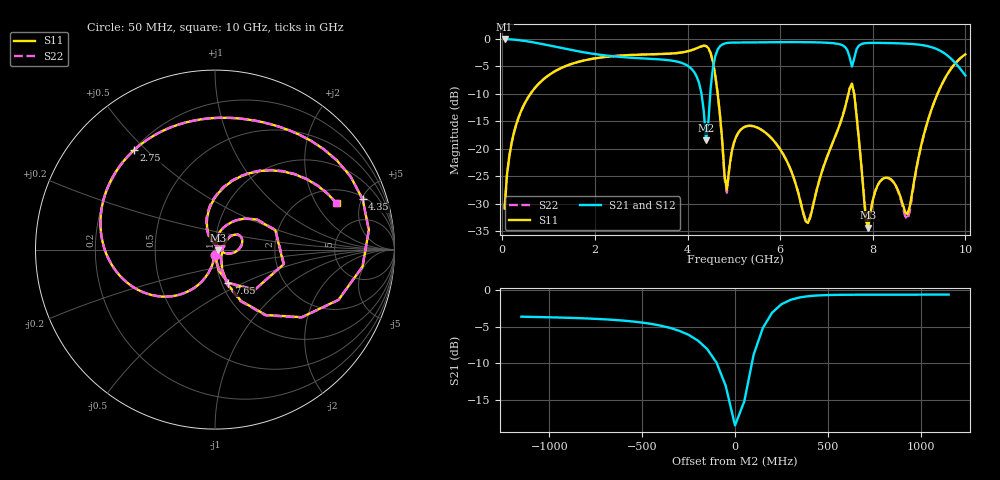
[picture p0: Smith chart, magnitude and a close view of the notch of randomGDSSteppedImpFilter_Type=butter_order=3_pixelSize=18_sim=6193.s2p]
! freq	dB(S11)	phase(S11)	dB(S12)	phase(S12)
!  dB(S21)	phase(S21)	dB(S22)	phase(S22)
!S-par simulation data
#  GHz  S  DB  R 50
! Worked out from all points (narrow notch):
!   200 points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, 50 MHz to 10 GHz, reference 50 ohm
!   highest |S21| = -0.01 dB at 50 MHz (marker M1); lowest = -18.5 dB at 4.4 GHz (marker M2)
!   notch at M2: 17.3 dB deep, 194 MHz wide at half that depth
!   lowest |S11| = -34.4 dB at 7.9 GHz (marker M3), VSWR 1.04, Z = 51.9 - j0.33 ohm
!   |S11| at or under -10 dB: start of sweep to 607.6 MHz; 4.652 GHz to 7.474 GHz (2.822 GHz wide, 46.5 % of centre); 7.599 GHz to 9.397 GHz (1.799 GHz wide, 21.2 % of centre)
!   |S22| runs from -33.7 to -1.2 dB; largest |S21 - S12| = 0
!   S11 on the Smith chart (normalised r, x): 50 MHz: 1.00, -0.06; 2.75 GHz: 0.20, +0.46; 4.35 GHz: 2.22, +5.09; 7.65 GHz: 1.08, -0.42; 10 GHz: 2.79, +3.03
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0.05  -30.91 -93.3  -0.01 -3.2  -0.01 -3.2  -30.91 -93.3
0.2  -19.00 -103.1  -0.07 -12.6  -0.07 -12.6  -19.00 -103.1
0.5  -11.48 -121.4  -0.36 -30.9  -0.36 -30.9  -11.48 -121.4
1.75  -3.93 173.7  -2.40 -95.7  -2.40 -95.7  -3.93 173.7
2.75  -2.92 129.3  -3.39 -140.2  -3.39 -140.2  -2.92 129.3
3.4  -2.75 98.6  -3.71 -170.8  -3.71 -170.8  -2.75 98.7
4.1  -2.00 53.5  -5.56 145.8  -5.56 145.8  -2.00 53.5
4.35  -1.22 18.8  -13.07 128.5  -13.07 128.5  -1.22 18.8
4.4  -1.27 7.3  -18.48 153.6  -18.48 153.6  -1.27 7.2
4.55  -4.25 -37.9  -5.16 -149.4  -5.16 -149.4  -4.26 -38.2
4.85  -27.47 3.6  -0.72 154.2  -0.72 154.2  -27.99 5.5
5.05  -17.80 38.8  -0.63 134.6  -0.63 134.6  -17.82 39.9
5.85  -18.44 -4.5  -0.58 79.9  -0.58 79.9  -18.43 -3.8
6.7  -30.78 67.1  -0.59 26.6  -0.59 26.6  -30.64 66.6
7.2  -17.53 68.4  -0.81 -7.0  -0.81 -7.0  -17.52 68.6
7.5  -9.04 17.6  -3.29 -33.1  -3.29 -33.1  -9.03 18.1
7.65  -13.94 -68.1  -1.85 -15.4  -1.85 -15.4  -13.89 -67.1
7.9  -34.39 -9.6  -0.72 -41.2  -0.72 -41.2  -33.66 -12.1
8.35  -25.37 19.9  -0.73 -75.1  -0.73 -75.1  -25.40 17.9
8.75  -31.90 65.7  -0.85 -106.4  -0.85 -106.4  -32.87 65.2
9.3  -12.09 95.4  -1.56 -158.0  -1.56 -158.0  -12.12 96.4
10  -2.79 20.8  -6.65 120.8  -6.65 120.8  -2.80 21.1
